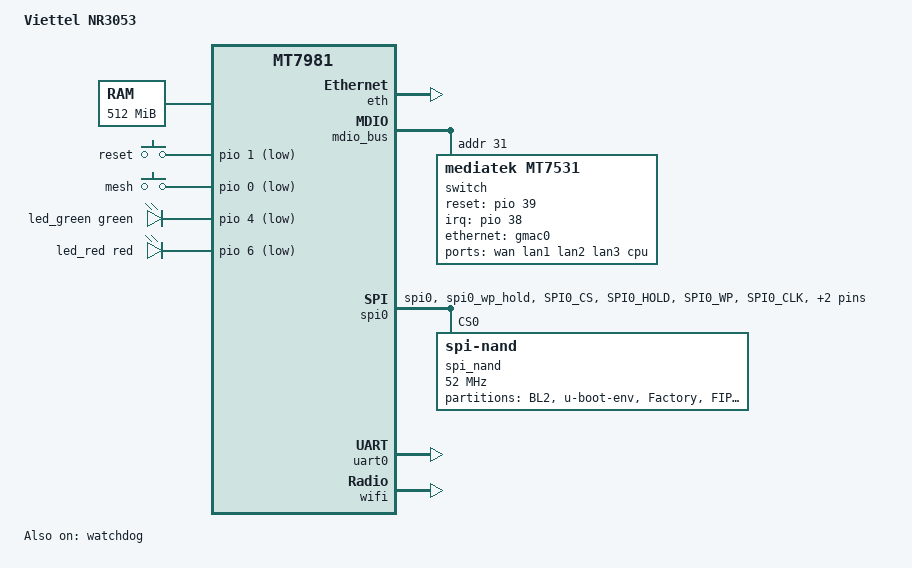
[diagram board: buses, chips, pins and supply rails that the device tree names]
// SPDX-License-Identifier: GPL-2.0-only OR MIT

/dts-v1/;
#include <dt-bindings/gpio/gpio.h>
#include <dt-bindings/input/input.h>
#include <dt-bindings/leds/common.h>

#include "mt7981b.dtsi"

/ {
	model = "Viettel NR3053";
	compatible = "viettel,nr3053", "mediatek,mt7981";

	aliases {
		label-mac-device = &gmac0;
		serial0 = &uart0;
		led-boot = &led_red;
		led-failsafe = &led_red;
		led-running = &led_green;
		led-upgrade = &led_green;
	};

	chosen {
		rootdisk = <&ubi_fit_volume>;
		stdout-path = "serial0:115200n8";
	};

	memory {
		device_type = "memory";
		reg = <0x0 0x40000000 0x0 0x20000000>;
	};

	gpio-keys {
		compatible = "gpio-keys";

		button-reset {
			label = "reset";
			gpios = <&pio 1 GPIO_ACTIVE_LOW>;
			linux,code = <KEY_RESTART>;
			debounce-interval = <60>;
		};

		button-mesh {
			label = "mesh";
			gpios = <&pio 0 GPIO_ACTIVE_LOW>;
			linux,code = <KEY_RFKILL>;
			debounce-interval = <60>;
		};
	};

	leds {
		compatible = "gpio-leds";

		led_green: led-0 {
			color = <LED_COLOR_ID_GREEN>;
			function = LED_FUNCTION_STATUS;
			gpios = <&pio 4 GPIO_ACTIVE_LOW>;
		};

		led_red: led-1 {
			color = <LED_COLOR_ID_RED>;
			function = LED_FUNCTION_STATUS;
			gpios = <&pio 6 GPIO_ACTIVE_LOW>;
		};
	};
};

&eth {
	pinctrl-names = "default";
	pinctrl-0 = <&mdio_pins>;
	status = "okay";

	gmac0: mac@0 {
		compatible = "mediatek,eth-mac";
		reg = <0>;
		phy-mode = "2500base-x";

		nvmem-cell-names = "mac-address";
		nvmem-cells = <&macaddr_factory_4 0>;

		fixed-link {
			speed = <2500>;
			full-duplex;
			pause;
		};
	};
};

&mdio_bus {
	switch: switch@1f {
		compatible = "mediatek,mt7531";
		reg = <0x1f>;
		reset-gpios = <&pio 39 GPIO_ACTIVE_HIGH>;
		reset-delay-us = <100000>;
		interrupt-controller;
		#interrupt-cells = <1>;
		interrupt-parent = <&pio>;
		interrupts = <38 IRQ_TYPE_LEVEL_HIGH>;
	};
};

&switch {
	ports {
		#address-cells = <1>;
		#size-cells = <0>;

		port@0 {
			reg = <0>;
			label = "wan";

			nvmem-cell-names = "mac-address";
			nvmem-cells = <&macaddr_factory_a 0>;
		};

		port@1 {
			reg = <1>;
			label = "lan1";
		};

		port@2 {
			reg = <2>;
			label = "lan2";
		};

		port@3 {
			reg = <3>;
			label = "lan3";
		};

		port@6 {
			reg = <6>;
			label = "cpu";
			ethernet = <&gmac0>;
			phy-mode = "2500base-x";

			fixed-link {
				speed = <2500>;
				full-duplex;
				pause;
			};
		};
	};
};

&spi0 {
	pinctrl-names = "default";
	pinctrl-0 = <&spi0_flash_pins>;
	#address-cells = <1>;
	#size-cells = <0>;
	status = "okay";

	spi_nand@0 {
		compatible = "spi-nand";
		reg = <0>;

		spi-max-frequency = <52000000>;
		spi-tx-bus-width = <4>;
		spi-rx-bus-width = <4>;

		spi-cal-enable;
		spi-cal-mode = "read-data";
		spi-cal-datalen = <7>;
		spi-cal-data = /bits/ 8 <0x53 0x50 0x49 0x4e 0x41 0x4e 0x44>;
		spi-cal-addrlen = <5>;
		spi-cal-addr = /bits/ 32 <0x0 0x0 0x0 0x0 0x0>;

		partitions {
			compatible = "fixed-partitions";
			#address-cells = <1>;
			#size-cells = <1>;

			partition@0 {
				label = "BL2";
				reg = <0x0 0x100000>;
				read-only;
			};

			partition@100000 {
				label = "u-boot-env";
				reg = <0x100000 0x100000>;
				read-only;
			};

			partition@200000 {
				label = "Factory";
				reg = <0x200000 0x200000>;
				read-only;

				nvmem-layout {
					compatible = "fixed-layout";
					#address-cells = <1>;
					#size-cells = <1>;

					eeprom_factory_0: eeprom@0 {
						reg = <0x0 0x1000>;
					};

					macaddr_factory_4: macaddr@4 {
						compatible = "mac-base";
						reg = <0x4 0x6>;
						#nvmem-cell-cells = <1>;
					};

					macaddr_factory_a: macaddr@a {
						compatible = "mac-base";
						reg = <0xa 0x6>;
						#nvmem-cell-cells = <1>;
					};
				};
			};

			partition@400000 {
				label = "FIP";
				reg = <0x400000 0x200000>;
				read-only;
			};

			partition@600000 {
				label = "ubi";
				reg = <0x600000 0xea00000>;
				compatible = "linux,ubi";

				volumes {
					ubi_fit_volume: ubi-volume-fit {
						volname = "fit";
					};

					ubi_ubootenv: ubi-volume-ubootenv {
						volname = "ubootenv";
					};

					ubi_ubootenv2: ubi-volume-ubootenv2 {
						volname = "ubootenv2";
					};
				};
			};
		};
	};
};

&pio {
	spi0_flash_pins: spi0-pins {
		mux {
			function = "spi";
			groups = "spi0", "spi0_wp_hold";
		};

		conf-pu {
			pins = "SPI0_CS", "SPI0_HOLD", "SPI0_WP";
			drive-strength = <MTK_DRIVE_8mA>;
			bias-pull-up = <MTK_PUPD_SET_R1R0_11>;
		};

		conf-pd {
			pins = "SPI0_CLK", "SPI0_MOSI", "SPI0_MISO";
			drive-strength = <MTK_DRIVE_8mA>;
			bias-pull-down = <MTK_PUPD_SET_R1R0_11>;
		};
	};
};

&uart0 {
	status = "okay";
};

&watchdog {
	status = "okay";
};

&wifi {
	status = "okay";
	nvmem-cell-names = "eeprom";
	nvmem-cells = <&eeprom_factory_0>;
};

&usb_phy {
	status = "disabled";
};

&xhci {
	status = "disabled";
};
